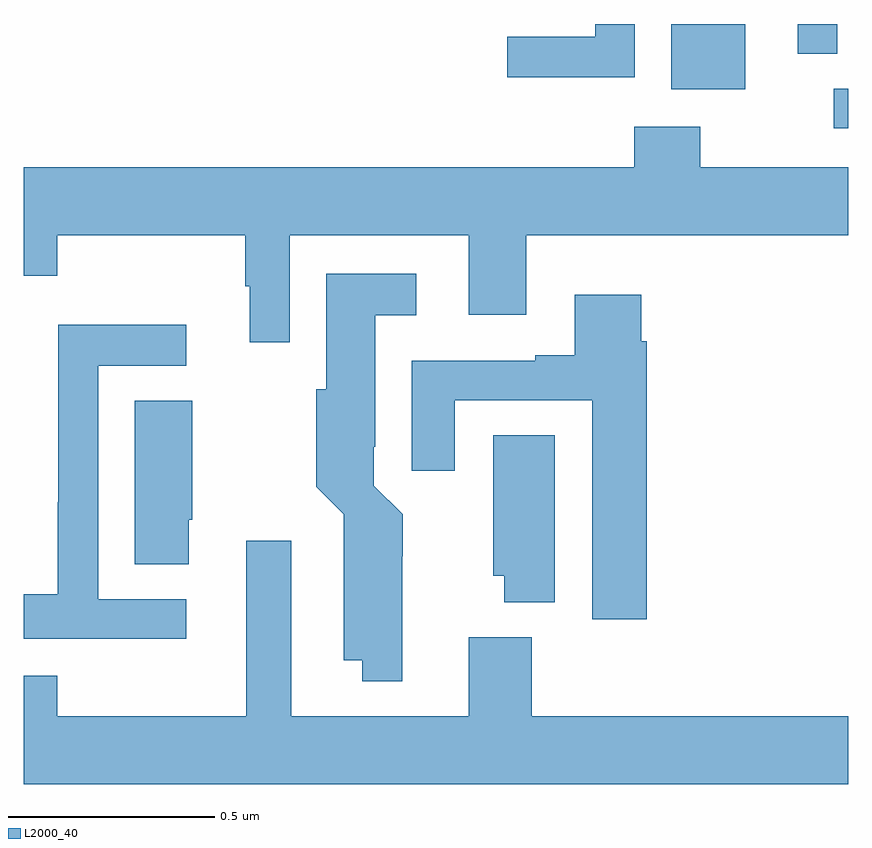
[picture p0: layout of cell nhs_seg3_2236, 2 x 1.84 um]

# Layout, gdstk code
import gdstk
lib = gdstk.Library(unit=1e-6, precision=1e-09)
def R(c, l, rs):  # rectangles x0, y0, x1, y1
    for r in rs: c.add(gdstk.rectangle(r[:2], r[2:], *l))
def P(c, l, *ps):  # polygons
    for p in ps: c.add(gdstk.Polygon(p, *l))
L2000_40 = (2000, 40)

nhs_seg3_2236 = lib.new_cell('nhs_seg3_2236')
R(nhs_seg3_2236, L2000_40, [(139.965,729.147,140,729.243), (139.571,729.242,139.75,729.4), (139.878,729.328,139.974,729.4)])
P(nhs_seg3_2236, L2000_40, [(139.482,729.4),(139.386,729.4),(139.386,729.369),(139.173,729.369),(139.173,729.271),(139.482,729.271)],
  [(138.645,728.888),(139.079,728.888),(139.079,728.694),(139.219,728.694),(139.219,728.888),(140,728.888),(140,729.052),(139.641,729.052),(139.641,729.151),(139.481,729.151),(139.481,729.052),(138,729.052),(138,728.789),(138.081,728.789),(138.081,728.888),(138.537,728.888),(138.537,728.764),(138.548,728.764),(138.548,728.628),(138.645,728.628)],
  [(138.918,728.108),(138.919,728.108),(138.919,728.21),(138.849,728.28),(138.849,728.374),(138.853,728.374),(138.853,728.693),(138.952,728.693),(138.952,728.794),(138.734,728.794),(138.734,728.514),(138.709,728.514),(138.709,728.277),(138.776,728.21),(138.776,727.856),(138.821,727.856),(138.821,727.805),(138.918,727.805)],
  [(139.511,728.63),(139.498,728.63),(139.498,728.743),(139.337,728.743),(139.337,728.596),(139.241,728.596),(139.241,728.583),(138.941,728.583),(138.941,728.316),(139.045,728.316),(139.045,728.487),(139.379,728.487),(139.379,727.956),(139.511,727.956)],
  [(138.394,728.004),(138.18,728.004),(138.18,728.571),(138.394,728.571),(138.394,728.67),(138.084,728.67),(138.084,728.24),(138.082,728.24),(138.082,728.017),(138,728.017),(138,727.908),(138.394,727.908)],
  [(138.4,728.197),(138.408,728.197),(138.408,728.486),(138.269,728.486),(138.269,728.089),(138.4,728.089)],
  [(139.288,728.402),(139.139,728.402),(139.139,728.061),(139.166,728.061),(139.166,727.997),(139.288,727.997)],
  [(140,727.72),(139.232,727.72),(139.232,727.912),(139.079,727.912),(139.079,727.72),(138.649,727.72),(138.649,728.146),(138.539,728.146),(138.539,727.72),(138.081,727.72),(138.081,727.819),(138,727.819),(138,727.556),(140,727.556)])

lib.write_gds('nhs_seg3_2236.gds')
